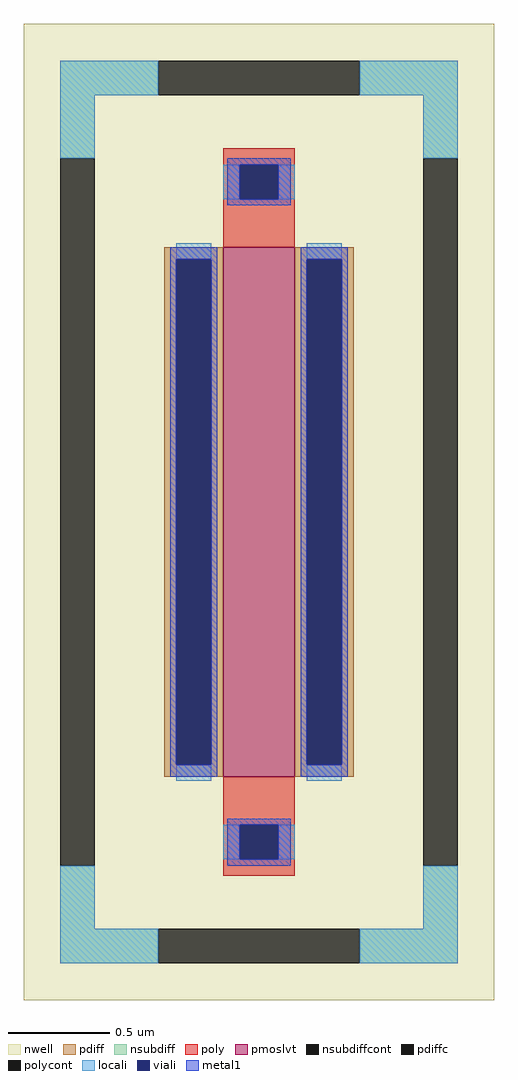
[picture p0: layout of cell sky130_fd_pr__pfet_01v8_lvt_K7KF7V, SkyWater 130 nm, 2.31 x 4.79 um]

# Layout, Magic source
magic
tech sky130A
magscale 1 2
<< nwell >>
rect -231 -479 231 479
<< pmoslvt >>
rect -35 -260 35 260
<< pdiff >>
rect -93 248 -35 260
rect -93 -248 -81 248
rect -47 -248 -35 248
rect -93 -260 -35 -248
rect 35 248 93 260
rect 35 -248 47 248
rect 81 -248 93 248
rect 35 -260 93 -248
<< pdiffc >>
rect -81 -248 -47 248
rect 47 -248 81 248
<< nsubdiff >>
rect -195 409 -99 443
rect 99 409 195 443
rect -195 347 -161 409
rect 161 347 195 409
rect -195 -409 -161 -347
rect 161 -409 195 -347
rect -195 -443 -99 -409
rect 99 -443 195 -409
<< nsubdiffcont >>
rect -99 409 99 443
rect -195 -347 -161 347
rect 161 -347 195 347
rect -99 -443 99 -409
<< poly >>
rect -35 341 35 357
rect -35 307 -19 341
rect 19 307 35 341
rect -35 260 35 307
rect -35 -307 35 -260
rect -35 -341 -19 -307
rect 19 -341 35 -307
rect -35 -357 35 -341
<< polycont >>
rect -19 307 19 341
rect -19 -341 19 -307
<< locali >>
rect -195 409 -99 443
rect 99 409 195 443
rect -195 347 -161 409
rect 161 347 195 409
rect -35 307 -19 341
rect 19 307 35 341
rect -81 248 -47 264
rect -81 -264 -47 -248
rect 47 248 81 264
rect 47 -264 81 -248
rect -35 -341 -19 -307
rect 19 -341 35 -307
rect -195 -409 -161 -347
rect 161 -409 195 -347
rect -195 -443 -99 -409
rect 99 -443 195 -409
<< viali >>
rect -19 307 19 341
rect -81 -248 -47 248
rect 47 -248 81 248
rect -19 -341 19 -307
<< metal1 >>
rect -31 341 31 347
rect -31 307 -19 341
rect 19 307 31 341
rect -31 301 31 307
rect -87 248 -41 260
rect -87 -248 -81 248
rect -47 -248 -41 248
rect -87 -260 -41 -248
rect 41 248 87 260
rect 41 -248 47 248
rect 81 -248 87 248
rect 41 -260 87 -248
rect -31 -307 31 -301
rect -31 -341 -19 -307
rect 19 -341 31 -307
rect -31 -347 31 -341
<< properties >>
string FIXED_BBOX -178 -426 178 426
string gencell sky130_fd_pr__pfet_01v8_lvt
string library sky130
string parameters w 2.6 l 0.35 m 1 nf 1 diffcov 100 polycov 100 guard 1 glc 1 grc 1 gtc 1 gbc 1 tbcov 100 rlcov 100 topc 1 botc 1 poverlap 0 doverlap 1 lmin 0.35 wmin 0.42 class mosfet compatible {sky130_fd_pr__pfet_01v8  sky130_fd_pr__pfet_01v8_lvt sky130_fd_pr__pfet_01v8_hvt  sky130_fd_pr__pfet_g5v0d10v5} full_metal 1 viasrc 100 viadrn 100 viagate 100 viagb 0 viagr 0 viagl 0 viagt 0 ad {int((nf+1)/2) * W/nf * 0.29} as {int((nf+2)/2) * W/nf * 0.29} pd {2*int((nf+1)/2) * (W/nf + 0.29)} ps {2*int((nf+2)/2) * (W/nf + 0.29)} nrd {0.29 / W} nrs {0.29 / W} sa 0 sb 0 sd 0 mult 1
<< end >>
